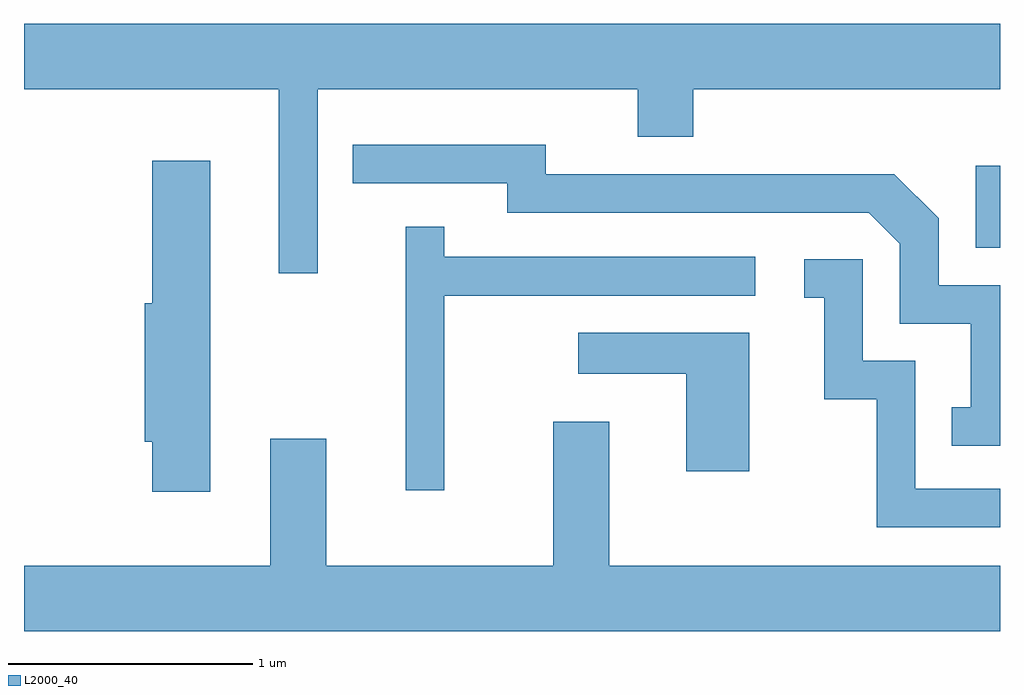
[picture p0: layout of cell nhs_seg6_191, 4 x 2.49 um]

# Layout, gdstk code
import gdstk
lib = gdstk.Library(unit=1e-6, precision=1e-09)
def R(c, l, rs):  # rectangles x0, y0, x1, y1
    for r in rs: c.add(gdstk.rectangle(r[:2], r[2:], *l))
def P(c, l, *ps):  # polygons
    for p in ps: c.add(gdstk.Polygon(p, *l))
L2000_40 = (2000, 40)

nhs_seg6_191 = lib.new_cell('nhs_seg6_191')
R(nhs_seg6_191, L2000_40, [(193.511,1642.626,193.611,1642.963)])
P(nhs_seg6_191, L2000_40, [(190.814,1643.276),(192.126,1643.276),(192.126,1643.081),(192.354,1643.081),(192.354,1643.276),(193.611,1643.276),(193.611,1643.544),(189.611,1643.544),(189.611,1643.276),(190.656,1643.276),(190.656,1642.523),(190.814,1642.523)],
  [(193.611,1642.474),(193.359,1642.474),(193.359,1642.747),(193.177,1642.929),(191.749,1642.929),(191.749,1643.049),(190.958,1643.049),(190.958,1642.891),(191.591,1642.891),(191.591,1642.771),(193.074,1642.771),(193.201,1642.644),(193.201,1642.316),(193.491,1642.316),(193.491,1641.974),(193.413,1641.974),(193.413,1641.816),(193.611,1641.816)],
  [(190.374,1642.984),(190.136,1642.984),(190.136,1642.399),(190.106,1642.399),(190.106,1641.831),(190.136,1641.831),(190.136,1641.626),(190.374,1641.626)],
  [(191.334,1642.431),(192.608,1642.431),(192.608,1642.589),(191.334,1642.589),(191.334,1642.713),(191.176,1642.713),(191.176,1641.633),(191.334,1641.633)],
  [(193.611,1641.639),(193.264,1641.639),(193.264,1642.164),(193.049,1642.164),(193.049,1642.579),(192.808,1642.579),(192.808,1642.421),(192.891,1642.421),(192.891,1642.006),(193.106,1642.006),(193.106,1641.481),(193.611,1641.481)],
  [(192.584,1642.279),(191.883,1642.279),(191.883,1642.111),(192.326,1642.111),(192.326,1641.711),(192.584,1641.711)],
  [(193.611,1641.324),(192.009,1641.324),(192.009,1641.914),(191.781,1641.914),(191.781,1641.324),(190.849,1641.324),(190.849,1641.844),(190.621,1641.844),(190.621,1641.324),(189.611,1641.324),(189.611,1641.056),(193.611,1641.056)])

lib.write_gds('nhs_seg6_191.gds')
